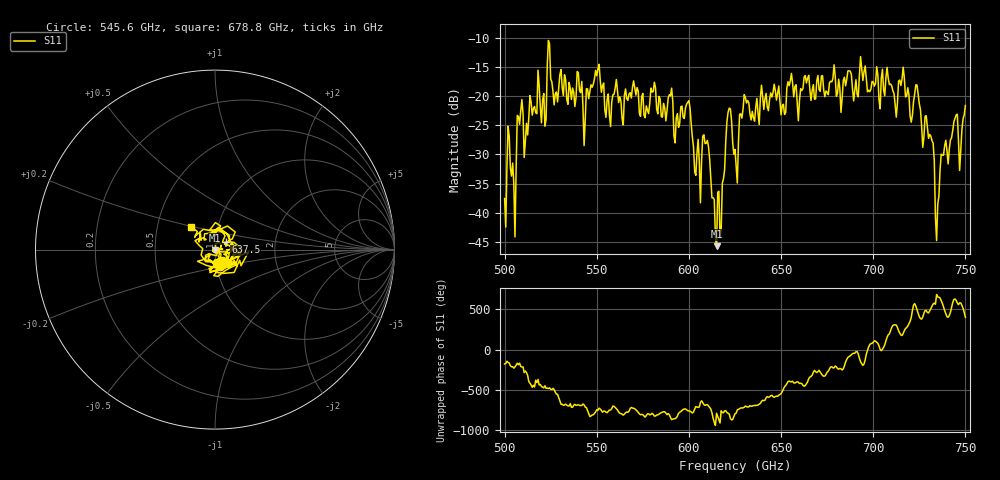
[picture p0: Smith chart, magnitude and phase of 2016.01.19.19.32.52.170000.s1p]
!Created with skrf (http://scikit-rf.org).
# GHz S RI R 50.0
!freq ReS11 ImS11
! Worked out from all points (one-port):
!   401 points, 500 GHz to 750 GHz, reference 50 ohm
!   lowest |S11| = -45.7 dB at 615 GHz (marker M1), VSWR 1.01, Z = 50.2 - j0.481 ohm
!   |S11| at or under -10 dB: start of sweep to end of sweep
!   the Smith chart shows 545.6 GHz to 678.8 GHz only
!   S11 on the Smith chart (normalised r, x): 545.6 GHz: 1.04, -0.19; 637.5 GHz: 1.12, +0.09; 678.8 GHz: 0.74, +0.20
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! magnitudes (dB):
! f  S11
! 500 GHz  -37.5
! 502.5 GHz  -26.9
! 505 GHz  -35.0
! 508.1 GHz  -24.8
! 521.2 GHz  -19.6
! 524.4 GHz  -11.1
! 531.2 GHz  -18.5
! 545.6 GHz  -20.4
! 562.5 GHz  -20.1
! 580.6 GHz  -19.2
! 593.8 GHz  -23.0
! 599.4 GHz  -21.1
! 605 GHz  -27.4
! 609.4 GHz  -28.1
! 615 GHz  -45.7
! 618.1 GHz  -34.9
! 621.9 GHz  -22.1
! 625 GHz  -29.1
! 630.6 GHz  -20.2
! 637.5 GHz  -22.9
! 656.2 GHz  -17.8
! 678.8 GHz  -14.6
! 687.5 GHz  -15.7
! 718.8 GHz  -18.6
! 731.2 GHz  -26.9
! 735 GHz  -38.5
! 738.1 GHz  -30.1
! 750 GHz  -21.6
